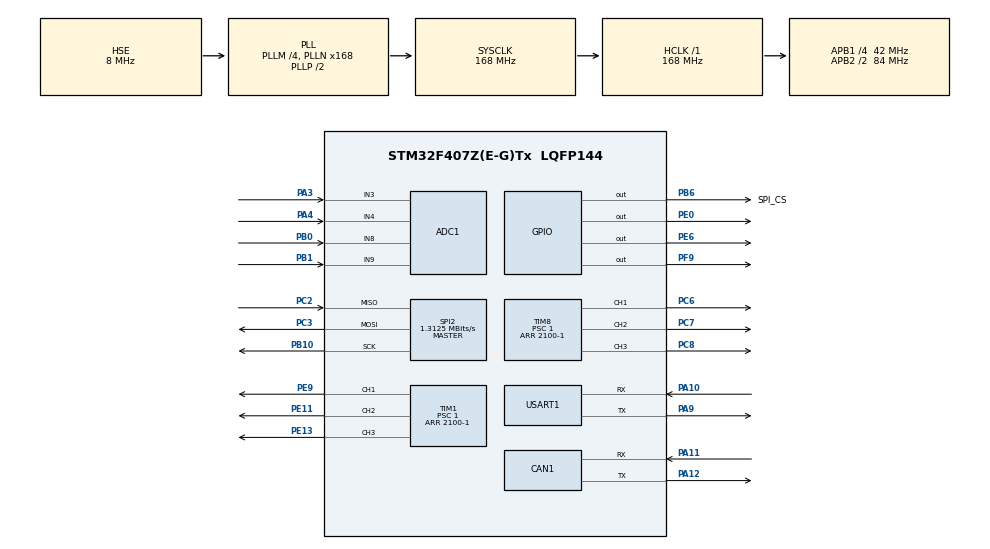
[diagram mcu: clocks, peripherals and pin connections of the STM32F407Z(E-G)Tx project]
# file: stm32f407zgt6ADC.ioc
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ADC1.Channel-0\#ChannelRegularConversion=ADC_CHANNEL_3
ADC1.Channel-1\#ChannelRegularConversion=ADC_CHANNEL_4
ADC1.Channel-2\#ChannelRegularConversion=ADC_CHANNEL_8
ADC1.Channel-3\#ChannelRegularConversion=ADC_CHANNEL_9
ADC1.ContinuousConvMode=ENABLE
ADC1.DMAContinuousRequests=ENABLE
ADC1.EOCSelection=ADC_EOC_SEQ_CONV
ADC1.NbrOfConversion=4
ADC1.NbrOfConversionFlag=1
ADC1.Rank-0\#ChannelRegularConversion=1
ADC1.Rank-1\#ChannelRegularConversion=2
ADC1.Rank-2\#ChannelRegularConversion=3
ADC1.Rank-3\#ChannelRegularConversion=4
ADC1.SamplingTime-0\#ChannelRegularConversion=ADC_SAMPLETIME_3CYCLES
ADC1.SamplingTime-1\#ChannelRegularConversion=ADC_SAMPLETIME_3CYCLES
ADC1.SamplingTime-2\#ChannelRegularConversion=ADC_SAMPLETIME_3CYCLES
ADC1.SamplingTime-3\#ChannelRegularConversion=ADC_SAMPLETIME_3CYCLES
ADC1.ScanConvMode=ENABLE
ADC1.master=1
CAN1.CalculateTimeQuantum=380.95238095238096
Dma.ADC1.0.Direction=DMA_PERIPH_TO_MEMORY
Dma.ADC1.0.FIFOMode=DMA_FIFOMODE_DISABLE
Dma.ADC1.0.Instance=DMA2_Stream0
Dma.ADC1.0.MemDataAlignment=DMA_MDATAALIGN_HALFWORD
Dma.ADC1.0.MemInc=DMA_MINC_ENABLE
Dma.ADC1.0.Mode=DMA_CIRCULAR
Dma.ADC1.0.PeriphDataAlignment=DMA_PDATAALIGN_HALFWORD
Dma.ADC1.0.PeriphInc=DMA_PINC_DISABLE
Dma.ADC1.0.Priority=DMA_PRIORITY_LOW
Dma.Request0=ADC1
Mcu.Family=STM32F4
Mcu.Name=STM32F407Z(E-G)Tx
Mcu.Package=LQFP144
NVIC.DMA2_Stream0_IRQn=true\:0\:0\:false\:false\:true\:false\:true\:true
NVIC.PriorityGroup=NVIC_PRIORITYGROUP_4
NVIC.USART1_IRQn=true\:0\:0\:false\:false\:true\:true\:true\:true
PA10.Mode=Asynchronous
PA10.Signal=USART1_RX
PA11.Mode=Master
PA11.Signal=CAN1_RX
PA12.Mode=Master
PA12.Signal=CAN1_TX
PA13.Mode=JTAG_5_pins
PA13.Signal=SYS_JTMS-SWDIO
PA14.Mode=JTAG_5_pins
PA14.Signal=SYS_JTCK-SWCLK
PA15.Mode=JTAG_5_pins
PA15.Signal=SYS_JTDI
PA3.Signal=ADCx_IN3
PA4.Signal=ADCx_IN4
PA9.Mode=Asynchronous
PA9.Signal=USART1_TX
PB0.Signal=ADCx_IN8
PB1.Signal=ADCx_IN9
PB10.Mode=Full_Duplex_Master
PB10.Signal=SPI2_SCK
PB3.Mode=JTAG_5_pins
PB3.Signal=SYS_JTDO-SWO
PB4.Mode=JTAG_5_pins
PB4.Signal=SYS_JTRST
PB6.GPIO_Label=SPI_CS
PB6.GPIO_PuPd=GPIO_PULLUP
PB6.GPIO_Speed=GPIO_SPEED_FREQ_HIGH
PB6.PinState=GPIO_PIN_SET
PB6.Signal=GPIO_Output
PC2.Mode=Full_Duplex_Master
PC2.Signal=SPI2_MISO
PC3.Mode=Full_Duplex_Master
PC3.Signal=SPI2_MOSI
PC6.GPIO_ModeDefaultPP=GPIO_MODE_AF_PP
PC6.GPIO_PuPd=GPIO_NOPULL
PC6.GPIO_Speed=GPIO_SPEED_FREQ_LOW
PC6.Signal=S_TIM8_CH1
PC7.GPIO_ModeDefaultPP=GPIO_MODE_AF_PP
PC7.GPIO_PuPd=GPIO_NOPULL
PC7.GPIO_Speed=GPIO_SPEED_FREQ_LOW
PC7.Signal=S_TIM8_CH2
PC8.GPIO_ModeDefaultPP=GPIO_MODE_AF_PP
PC8.GPIO_PuPd=GPIO_NOPULL
PC8.GPIO_Speed=GPIO_SPEED_FREQ_LOW
PC8.Signal=S_TIM8_CH3
PE0.Signal=GPIO_Output
PE11.Signal=S_TIM1_CH2
PE13.Signal=S_TIM1_CH3
PE6.Signal=GPIO_Output
PE9.Signal=S_TIM1_CH1
PF9.PinState=GPIO_PIN_SET
PF9.Signal=GPIO_Output
PH0-OSC_IN.Mode=HSE-External-Oscillator
PH0-OSC_IN.Signal=RCC_OSC_IN
PH1-OSC_OUT.Mode=HSE-External-Oscillator
PH1-OSC_OUT.Signal=RCC_OSC_OUT
ProjectManager.HeapSize=0x200
ProjectManager.StackSize=0x400
ProjectManager.TargetToolchain=MDK-ARM V5
RCC.48MHZClocksFreq_Value=84000000
RCC.AHBFreq_Value=168000000
RCC.APB1CLKDivider=RCC_HCLK_DIV4
RCC.APB1Freq_Value=42000000
RCC.APB1TimFreq_Value=84000000
RCC.APB2CLKDivider=RCC_HCLK_DIV2
RCC.APB2Freq_Value=84000000
RCC.APB2TimFreq_Value=168000000
RCC.CortexFreq_Value=168000000
RCC.HCLKFreq_Value=168000000
RCC.HSE_VALUE=8000000
RCC.HSI_VALUE=16000000
RCC.LSE_VALUE=32768
RCC.PLLM=4
RCC.PLLN=168
RCC.PLLSourceVirtual=RCC_PLLSOURCE_HSE
RCC.SYSCLKFreq_VALUE=168000000
RCC.SYSCLKSource=RCC_SYSCLKSOURCE_PLLCLK
RCC.VCOOutputFreq_Value=336000000
SH.ADCx_IN3.0=ADC1_IN3,IN3
SH.ADCx_IN4.0=ADC1_IN4,IN4
SH.ADCx_IN8.0=ADC1_IN8,IN8
SH.ADCx_IN9.0=ADC1_IN9,IN9
SH.S_TIM1_CH1.0=TIM1_CH1,PWM Generation1 CH1
SH.S_TIM1_CH2.0=TIM1_CH2,PWM Generation2 CH2
SH.S_TIM1_CH3.0=TIM1_CH3,PWM Generation3 CH3
SH.S_TIM8_CH1.0=TIM8_CH1,PWM Generation1 CH1
SH.S_TIM8_CH2.0=TIM8_CH2,PWM Generation2 CH2
SH.S_TIM8_CH3.0=TIM8_CH3,PWM Generation3 CH3
SPI2.BaudRatePrescaler=SPI_BAUDRATEPRESCALER_32
SPI2.CLKPhase=SPI_PHASE_2EDGE
SPI2.CalculateBaudRate=1.3125 MBits/s
SPI2.DataSize=SPI_DATASIZE_16BIT
SPI2.Direction=SPI_DIRECTION_2LINES
SPI2.Mode=SPI_MODE_MASTER
SPI2.VirtualType=VM_MASTER
TIM1.AutoReloadPreload=TIM_AUTORELOAD_PRELOAD_ENABLE
TIM1.AutomaticOutput=TIM_AUTOMATICOUTPUT_ENABLE
TIM1.Channel-PWM\ Generation1\ CH1=TIM_CHANNEL_1
TIM1.Channel-PWM\ Generation2\ CH2=TIM_CHANNEL_2
TIM1.Channel-PWM\ Generation3\ CH3=TIM_CHANNEL_3
TIM1.CounterMode=TIM_COUNTERMODE_CENTERALIGNED1
TIM1.OffStateIDLEMode=TIM_OSSI_ENABLE
TIM1.OffStateRunMode=TIM_OSSR_ENABLE
TIM1.Period=2100-1
TIM1.Prescaler=1
TIM1.TIM_MasterSlaveMode=TIM_MASTERSLAVEMODE_ENABLE
TIM2.Period=65536-1
TIM2.Prescaler=4-1
TIM3.Period=65536-1
TIM3.Prescaler=4000-1
TIM4.AutoReloadPreload=TIM_AUTORELOAD_PRELOAD_ENABLE
TIM4.CounterMode=TIM_COUNTERMODE_DOWN
TIM4.Period=65536-1
TIM4.Prescaler=84-1
TIM8.AutoReloadPreload=TIM_AUTORELOAD_PRELOAD_ENABLE
TIM8.AutomaticOutput=TIM_AUTOMATICOUTPUT_ENABLE
TIM8.Channel-PWM\ Generation1\ CH1=TIM_CHANNEL_1
TIM8.Channel-PWM\ Generation2\ CH2=TIM_CHANNEL_2
TIM8.Channel-PWM\ Generation3\ CH3=TIM_CHANNEL_3
TIM8.CounterMode=TIM_COUNTERMODE_CENTERALIGNED1
TIM8.OCPolarity_1=TIM_OCPOLARITY_HIGH
TIM8.OCPolarity_2=TIM_OCPOLARITY_HIGH
TIM8.OCPolarity_3=TIM_OCPOLARITY_HIGH
TIM8.OffStateIDLEMode=TIM_OSSI_ENABLE
TIM8.OffStateRunMode=TIM_OSSR_ENABLE
TIM8.Period=2100-1
TIM8.Prescaler=1
TIM8.TIM_MasterSlaveMode=TIM_MASTERSLAVEMODE_ENABLE
USART1.VirtualMode=VM_ASYNC
VP_TIM1_VS_ClockSourceINT.Mode=Internal
VP_TIM2_VS_ClockSourceINT.Mode=Internal
VP_TIM3_VS_ClockSourceINT.Mode=Internal
VP_TIM4_VS_ClockSourceINT.Mode=Internal
VP_TIM8_VS_ClockSourceINT.Mode=Internal
board=custom

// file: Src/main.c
/* USER CODE BEGIN Header */
/**
  ******************************************************************************
  * @file           : main.c
  * @brief          : Main program body
  ******************************************************************************
  * @attention
  *
  * <h2><center>&copy; Copyright (c) 2022 STMicroelectronics.
  * All rights reserved.</center></h2>
  *
  * This software component is licensed by ST under BSD 3-Clause license,
  * the "License"; You may not use this file except in compliance with the
  * License. You may obtain a copy of the License at:
  *                        opensource.org/licenses/BSD-3-Clause
  *
  ******************************************************************************
  */
/* USER CODE END Header */

#include "main.h"
#include "adc.h"
#include "can.h"
#include "dma.h"
#include "spi.h"
#include "tim.h"
#include "usart.h"
#include "gpio.h"

/* USER CODE BEGIN Includes */
#include "AS5047P.h"
/* USER CODE END Includes */

/* USER CODE BEGIN PTD */
extern int16_t adc_buff[ADC_NUM_MAX];    // ADC电压采集缓冲区
//extern int16_t adc_buff2[ADC_NUM_MAX];    // ADC电压采集缓冲区

//extern float adc_buff[ADC_NUM_MAX];    // ADC电压采集缓冲区
/* USER CODE END PTD */

/* USER CODE BEGIN PD */
extern float adc_u;
extern float adc_v;

extern float adc_u2;
extern float adc_v2;

uint16_t IU,IV;

//extern __IO uint16_t ChannelPulse;

float targetId;
float targetIq;
float velocity_target;	//待设定目标速度
float position_target;	//待设定目标位置

int  pole_pairs	= 14;//电机极对数
int  pole_pairs2 = 14;

long sensor_direction;
long sensor_direction2;

float voltage_power_supply;
float voltage_limit;

float voltage_sensor_align;
float voltage_sensor_align2;

float velocity_limit;
float current_limit;

uint32_t upposition;
uint32_t upvelocity;
uint32_t upcurrentq;
uint32_t upcurrentd;

float now_angle;
float now_velocity;
float now_position;

float now_angle2;
float now_velocity2;
float now_position2;

float Iq_target;

extern float a,b,c;
PhaseCurrent_s current_test;
PhaseCurrent_s current_test2;

float ctt,stt,d_t,q_t;
float i_alpha_t, i_beta_t;

extern float sensor_offset;
extern float Electrical_Angele_Sensor_Offset;

float firstAngle;
float SecondAngle;

float AS5600Angle1;
float AS5600Angle2;

float AS5047_PAngle;
//extern float AS4057_PAnglel;
uint32_t Raw_AS5047p;
float ZeroAngle;

//双电机互控
float abs_angle1;
float abs_angle2;

//模拟旋钮
float knob_angle;
float knob_velocity;
float knob_torque;
float now_Encoder;
float last_Encoder;
uint32_t knob_step;
uint32_t Planning_Number;
float Now_Planing_Number;
float shaftAngle_as5047p;
float getAngle5047p;
DQCurrent_s knob_current;

/* USER CODE END PD */

void SystemClock_Config(void);

int main(void)
{
  /* USER CODE BEGIN 1 */
//	voltage_limit = 6;          //V，最大值需小于 供电电压/sqrt(3) 12/1.732=6.9 24/sqrt(3)=13.8568
	voltage_limit = 13.86;          //V，最大值需小于 供电电压/sqrt(3) 12/1.732=6.9 24/sqrt(3)=13.8568
	voltage_power_supply = 24; 	//电源电压

	voltage_sensor_align = 3;   //V alignSensor() use it，大功率电机设置的值小一点比如0.5-1，小电机设置的大一点比如2-3
	voltage_sensor_align2 = 3;

	current_limit = 50; 				//电流限制，速度模式和位置模式起作用

	velocity_limit= 20;         	//位置模式速度限制

	velocity_target = 3;        //待设定目标速度 3 rad/s
	position_target = 4.5;				//待设定目标位置 3 rad

	Iq_target = 0;
	targetId = 0;
  /* USER CODE END 1 */

  /* MCU Configuration--------------------------------------------------------*/

  /* Reset of all peripherals, Initializes the Flash interface and the Systick. */
  HAL_Init();

  /* Configure the system clock */
  SystemClock_Config();

  /* Initialize all configured peripherals */
  MX_GPIO_Init();
  MX_DMA_Init();
  MX_ADC1_Init();
  MX_TIM8_Init();
  MX_TIM2_Init();
  MX_TIM3_Init();
  MX_TIM4_Init();
  MX_USART1_UART_Init();
  MX_TIM1_Init();
  MX_CAN1_Init();
  MX_SPI2_Init();
  /* USER CODE BEGIN 2 */
	//上位机初始化
//	protocol_init();

	__HAL_TIM_SetCounter(&htim4, 0);
  __HAL_TIM_ENABLE(&htim4);

	IIC_Init();
	IIC2_Init();

	HAL_ADC_Start(&hadc1);
	HAL_ADC_Start_DMA(&hadc1,(uint32_t*)&adc_buff,ADC_NUM_MAX);//ADC采样点数

	LPF_init();
	LPF_init2();

	PID_init();
	PID_init2();

	InlineCurrentSense(0.01,50);    //SimpleMotor//采样电阻阻值，运放倍数
	InlineCurrentSense2(0.01,50);

		//AS5047P初始化
#if 1
		HAL_Delay(100);
		AS5047_Init();
		HAL_Delay(100);
		ZeroAngle = AS5047_Get_ZeroPosition() * 360.0 / 0x3FFF;
#endif

	Motor_init();
	my_delay_ms(10);
	Motor_initFOC(0,UNKNOWN);
	my_delay_ms(500);
	Current_calibrateOffsets();//电流偏置测量(空载情况下的电流)

	Motor_init2();
	my_delay_ms(10);
	Motor_initFOC2(0,UNKNOWN);
	my_delay_ms(500);
	Current_calibrateOffsets2();//电流偏置测量(空载情况下的电流)

//	my_delay_ms(10);
	/*****************************************************************/
	//Uq90度
//	//setPhaseVoltage(voltage_sensor_align, 0, _3PI_2);
//
//	setPhaseVoltage(voltage_sensor_align, 0, _PI_2);
//
//	firstAngle = shaftAngle();//理论上应该是90度
//
////	setPhaseVoltage(0, voltage_sensor_align, 0);
////	my_delay_ms(500);
//	sensor_offset = shaftAngle();// shaft angle
//	sensor_offset = sensor_offset - _PI_2/7;

	/*****************************************************************/

//	setPhaseVoltage(0, 0, 0);
#if 0
	CALIBRATION_start();

	CALIBRATION_loop();
	my_delay_ms(1000);
#endif

//上位机启动
#if 0
	set_computer_value(SEND_STOP_CMD, CURVES_CH1, NULL, 0);                // 同步上位机的启动按钮状态
	set_computer_value(SEND_STOP_CMD, CURVES_CH2, NULL, 0);                // 同步上位机的启动按钮状态
	set_computer_value(SEND_STOP_CMD, CURVES_CH3, NULL, 0);                // 同步上位机的启动按钮状态
	set_computer_value(SEND_STOP_CMD, CURVES_CH4, NULL, 0);                // 同步上位机的启动按钮状态

//	set_computer_value(SEND_TARGET_CMD, CURVES_CH1, &upcurrentq, 1);     // 给通道 3发送目标值
//	set_computer_value(SEND_TARGET_CMD, CURVES_CH2, &upcurrentd, 1);     // 给通道 3发送目标值
//	set_computer_value(SEND_TARGET_CMD, CURVES_CH3, &velocity_target, 1);     // 给通道 3发送目标值
//	set_computer_value(SEND_TARGET_CMD, CURVES_CH4, &position_target, 1);     // 给通道 3发送目标值

	set_computer_value(SEND_START_CMD, CURVES_CH1, NULL, 0);               // 同步上位机的启动按钮状态
	set_computer_value(SEND_START_CMD, CURVES_CH2, NULL, 0);               // 同步上位机的启动按钮状态
	set_computer_value(SEND_START_CMD, CURVES_CH3, NULL, 0);               // 同步上位机的启动按钮状态
	set_computer_value(SEND_START_CMD, CURVES_CH4, NULL, 0);               // 同步上位机的启动按钮状态
#endif
//	setPhaseVoltage(voltage_sensor_align,0,_PI_2);

//	setPhaseVoltage(0,voltage_sensor_align,0);

  /* USER CODE END 2 */

  /* Infinite loop */
  /* USER CODE BEGIN WHILE */

  while (1)
  {

		#if 0
			receiving_process();
		#endif

		#if 0
		//AS5600编码器测试
			abs_angle1 = ABS_Angle();
			abs_angle2 = ABS_Angle2();
			AS5600Angle1 = AS5600_ReadRawAngle()/(float)4096*(float)360;
			AS5600Angle2 = AS5600_ReadRawAngle2()/(float)4096*(float)360;
			shaft_angle = shaftAngle();// shaft angle
			electrical_angle = electricalAngle();// electrical angle - need shaftAngle to be called first
			shaft_angle2 = shaftAngle2();
			electrical_angle2 = electricalAngle2();
	//		printf("%f\r\n",AS5600_ReadRawAngle()/4096*360);
		#endif

		#if 0
//		shaft_angle = shaftAngle();// shaft angle

		electrical_angle = electricalAngle();// electrical angle - need shaftAngle to be called first
		shaft_angle = shaftAngle();// shaft angle
		now_velocity = getVelocity();
		#endif
//		printf("%f\r\n",PIDoperator(&PID_velocity,(10 - 5)));

		//电机1校准
		#if 0
		//Ud基准
		setPhaseVoltage(0,voltage_sensor_align,(_2PI * 1.f/ 12.0f));

		current_test = getPhaseCurrents();

		shaft_angle = shaftAngle();// shaft angle
		electrical_angle = electricalAngle();// electrical angle - need shaftAngle to be called first

//		i_alpha_t = current_test.a;
//		i_beta_t = _1_SQRT3 * current_test.a + _2_SQRT3 * current_test.b;//a + b + c = 0
//
//		ctt = arm_cos_f32(electrical_angle);
//		stt = arm_sin_f32(electrical_angle);
//
//		//simplefoc的park变换
//		d_t = i_alpha_t * ctt + i_beta_t * stt;
//		q_t = i_beta_t * ctt - i_alpha_t * stt;

		#endif

		//电机2校准
		#if 0
		//电机2 Ud基准
		setPhaseVoltage2(0,voltage_sensor_align2,(_2PI * 1.f/ 12.0f));

		current_test2 = getPhaseCurrents2();

		shaft_angle2 = shaftAngle2();// shaft angle
		electrical_angle2 = electricalAngle2();// electrical angle - need shaftAngle to be called first

//		i_alpha_t = current_test2.a;
//		i_beta_t = _1_SQRT3 * current_test2.a + _2_SQRT3 * current_test2.b;//a + b + c = 0
//
//		ctt = arm_cos_f32(electrical_angle2);
//		stt = arm_sin_f32(electrical_angle2);
//
//		//simplefoc的park变换
//		d_t = i_alpha_t * ctt + i_beta_t * stt;
//		q_t = i_beta_t * ctt - i_alpha_t * stt;

		#endif
//		printf( "angle : %.04f\r\n", ReadAngle() );

//		HAL_Delay(1000);

		//电机1对相
		#if 0
//		//a
//		__HAL_TIM_SetCompare(&htim8,TIM_CHANNEL_1,0.1*(2100-1));
//		__HAL_TIM_SetCompare(&htim8,TIM_CHANNEL_2,0);
//		__HAL_TIM_SetCompare(&htim8,TIM_CHANNEL_3,0);
		//b
//		__HAL_TIM_SetCompare(&htim8,TIM_CHANNEL_1,0);
//		__HAL_TIM_SetCompare(&htim8,TIM_CHANNEL_2,0.1*(2100-1));
//		__HAL_TIM_SetCompare(&htim8,TIM_CHANNEL_3,0);
		//c
		__HAL_TIM_SetCompare(&htim8,TIM_CHANNEL_1,0);
		__HAL_TIM_SetCompare(&htim8,TIM_CHANNEL_2,0);
		__HAL_TIM_SetCompare(&htim8,TIM_CHANNEL_3,0.1*(2100-1));

		current_test = getPhaseCurrents();
		#endif

		//电机2对相
		#if 0
		//a
//		__HAL_TIM_SetCompare(&htim1,TIM_CHANNEL_1,0.1*(2100-1));
//		__HAL_TIM_SetCompare(&htim1,TIM_CHANNEL_2,0);
//		__HAL_TIM_SetCompare(&htim1,TIM_CHANNEL_3,0);
		//b
		__HAL_TIM_SetCompare(&htim1,TIM_CHANNEL_1,0);
		__HAL_TIM_SetCompare(&htim1,TIM_CHANNEL_2,0.1*(2100-1));
		__HAL_TIM_SetCompare(&htim1,TIM_CHANNEL_3,0);
		//c
//		__HAL_TIM_SetCompare(&htim1,TIM_CHANNEL_1,0);
//		__HAL_TIM_SetCompare(&htim1,TIM_CHANNEL_2,0);
//		__HAL_TIM_SetCompare(&htim1,TIM_CHANNEL_3,0.1*ChannelPulse);

		current_test = getPhaseCurrents2();

		#endif
//		setPhaseVoltage(0, 1, _2PI * 1.0f/ 12.0f);
//		setPhaseVoltage(0, 1, _2PI * 3.0f/ 12.0f);
//		setPhaseVoltage(0, 1, _2PI * 5.0f/ 12.0f);
//		setPhaseVoltage(0, 1, _2PI * 7.0f/ 12.0f);
//		setPhaseVoltage(0, 1, _2PI * 9.0f/ 12.0f);
//		setPhaseVoltage(0, 1, _2PI * 11.0f/ 12.0f);

//		shaft_angle = shaftAngle();// shaft angle
//		electrical_angle = electricalAngle();// electrical angle - need shaftAngle to be called first
//		current = getFOCCurrents(electrical_angle);

//		move(Iq_target);
//Id
#if 0
		shaft_angle = shaftAngle();// shaft angle
		electrical_angle = electricalAngle();// electrical angle - need shaftAngle to be called first

		// read dq currents
		current = getFOCCurrents(electrical_angle);
		// filter values
//		current.q = LPFoperator(&LPF_current_q,current.q);
		current.d = LPFoperator(&LPF_current_d,current.d);

		voltage.d = PIDoperator(&PID_current_d, (targetId - current.d));
		setPhaseVoltage(0, voltage.d, electrical_angle);
#endif

//Iq
#if 0
//		shaft_angle = shaftAngle();// shaft angle
		electrical_angle = electricalAngle();// electrical angle - need shaftAngle to be called first

		// read dq currents
		current = getFOCCurrents(electrical_angle);
		// filter values
		current.q = LPFoperator(&LPF_current_q,current.q);
//		current.d = LPFoperator(&LPF_current_d,current.d);

//		voltage.d = PIDoperator(&PID_current_d, (targetId - current.d));
		voltage.q = PIDoperator(&PID_current_q, (targetIq - current.q));
		setPhaseVoltage(voltage.q , 0, electrical_angle);
#endif
//clark park 变换验证

#if 0
//	DQCurrent_s getFOCCurrents(float angle_el);

	float angle_t = _PI/6;
	float ctt,stt,d_t,q_t;
	float i_alpha_t, i_beta_t;
	float Ia_t = 0.5;
	float	Ib_t = -0.3;

	i_alpha_t = Ia_t;
	i_beta_t = _1_SQRT3 * Ia_t + _2_SQRT3 * Ib_t;//a + b + c = 0

	ctt = arm_cos_f32(angle_t);
	stt = arm_sin_f32(angle_t);

	//simplefoc的park变换
	d_t = i_alpha_t * ctt + i_beta_t * stt;
	q_t = i_beta_t * ctt - i_alpha_t * stt;

	printf("d_t:%f\r\n",d_t);
	printf("q_t:%f\r\n",q_t);
#endif

//电流模式
#if 0
		move(0);
		loopFOCtest();
		now_velocity = shaftVelocity();//测速
		now_position = getAngle();
#endif
//速度模式
#if 0
//	//AS5600
//		now_velocity = move_velocity(velocity_target);
//		loopFOCtest();
	//AS5047P
		now_velocity = move_velocity(velocity_target);
	//AS5047P测速
//	shaft_velocity = shaftVelocity_AS5047P();
	//AS5047P测角度
//	shaftAngle_as5047p = shaftAngle_AS5047P();// shaft angle
//	getAngle5047p = getAngle_as5047p();
//	knob_angle = ((float)(ReadRegister(0xFFFF)&0x3fff)*360)/16384;
		Knob_loop();
//向上位机打印数据
//		upposition = getAngle();

//		upvelocity = now_velocity * 1000;
//		upcurrentq = current.q * 1000 + 1000;//扩大1000，偏置1000
//		upcurrentd = current.d * 1000 + 1000;//扩大1000,偏置1000

//		set_computer_value(SEND_FACT_CMD, CURVES_CH1, &upcurrentq, 1);     // 给通道1发Iq
//		set_computer_value(SEND_FACT_CMD, CURVES_CH2, &upcurrentd, 1);     // 给通道2发Id
//		set_computer_value(SEND_FACT_CMD, CURVES_CH3, &upvelocity, 1);     // 给通道3发送速度值
////		set_computer_value(SEND_FACT_CMD, CURVES_CH4, &upposition, 1);     // 给通道4发送位置值
#endif
//M2速度模式
#if 0
		now_velocity2 = move_velocity2(velocity_target);
		loopFOCtest_second();
#endif

//双电机速度模式
#if 0
		now_velocity = move_velocity(velocity_target);
		loopFOCtest();

		now_velocity2 = move_velocity2(velocity_target);
		loopFOCtest_second();
#endif

//位置环模式
#if 1
	//AS5600
//		now_position = move_position(position_target);
//		loopFOCtest();//电流环PID
	//AS5047P
		now_position = move_position(position_target);
		Knob_loop();

//		loopFOCtest();//电流环PID

//		now_velocity = shaftVelocity();

//		upvelocity = now_velocity * 1000;//扩大1000
//		upcurrentq = current.q * 1000 + 1000;//扩大1000，偏置1000
//		upcurrentd = current.d * 1000 + 1000;//扩大1000,偏置1000
#endif

//		now_velocity= move_velocity(velocity_target);
//		loopFOCtest();

//	float A,B;
//	float d =_2PI/2048;

//双电机力矩互控
#if 0
//		move(0);
//		move2(0);
//		shaft_angle = shaftAngle();// shaft angle
//		shaft_angle2 = shaftAngle2();// shaft angle

//		abs_angle1 = ABS_Angle();
//		abs_angle2 = ABS_Angle2();

		move_torque2();
		move_torque1();

		loopFOCtest_second();
		loopFOCtest();

//		test();

//		if((adc_u>0.5)&&(adc_v>0.5)&&(adc_u2>0.5)&&(adc_v2>0.5)){
//			HAL_GPIO_WritePin(GPIOF,GPIO_PIN_9,GPIO_PIN_RESET);
//		}else{
//			HAL_GPIO_WritePin(GPIOF,GPIO_PIN_9,GPIO_PIN_SET);
//		}

//	shaft_angle2 = shaftAngle2();// shaft angle
//	electrical_angle2 = electricalAngle2();// electrical angle - need shaftAngle to be called first

//	// read dq currents
//	current2 = getFOCCurrents2(electrical_angle2);

////
//	voltage2.q = PIDoperator(&PID_current_q2,(current_sp - current2.q));
//	voltage2.d = PIDoperator(&PID_current_d2, (targetId - current2.d));

//
//	// set the phase voltage - FOC heart function :)
//  setPhaseVoltage2(voltage2.q, voltage2.d, electrical_angle2);

//		getPhaseCurrents();
//		getPhaseCurrents2();

//		current_test = getPhaseCurrents();
//		current_test2 = getPhaseCurrents2();

//		now_velocity = shaftVelocity();//测速
//		now_position = getAngle();

//		now_velocity2 = shaftVelocity2();//测速
//		now_position2 = getAngle2();
#endif

	//电机旋钮功能
	/*
		1.弹性回正(位置模式)
			电机以一个固定码值为中心，偏离中心码值会产生回复力
			使电机能回复到中心码值位置

		2.分段旋钮
			将电机旋转的一周切分成n个点位，在点位上电机不产生主动回复力，
			偏离点位，电机会受到回复力，偏离点位越远，受到的回复力越大

		3.阻尼回正
		4.阻尼旋钮
		5.失重转动

		6.左右限位
			电机在一定的位置内能自由转动，超出位置限制会产生回复力

	*/

	//2.分段旋钮
	 //多段旋钮
  /*
    四段式旋钮
    切分点0,90,180,270
    二次分段: 1）0-45,45-90
            2）90-135,135-180
            3）180-225,225-270
            4）270-315,315-360（0）
  */
	//测试AS5047p编码器
	#if 0
	shaftAngle_as5047p = shaftAngle_AS5047P();// shaft angle
	getAngle5047p = getAngle_as5047p();
	knob_angle = ((float)(ReadRegister(0xFFFF)&0x3fff)*360)/16384;
	#endif
	#if 0
	//knob_angle = (float)AS5600_ReadRawAngle()/4096*360.0;//AS5600
	//AS5047P
	knob_angle = ((float)(ReadRegister(0xFFFF)&0x3fff)*360)/16384;
  knob_step = (uint32_t)knob_angle/45 + 1;
  switch(knob_step){
    case 1://0-45
      if((knob_angle > 0.1)&&(knob_angle < 44.9))
        knob_torque = 0.2;//往大走
          break;
    case 2://45-90
      if((knob_angle > 45.1)&&(knob_angle < 89.9))
        knob_torque = -0.2;//往小走
      else
        knob_torque = 0;
          break;
    case 3://90-135
      if((knob_angle > 90.1)&&(knob_angle < 134.9))
        knob_torque = 0.2;//往大走
      else
        knob_torque = 0;
          break;
    case 4://135-180
      if((knob_angle > 135.1)&&(knob_angle < 179.9))
        knob_torque = -0.2;//往小走
      else
        knob_torque = 0;
          break;
    case 5://180-225
      if((knob_angle > 180.1)&&(knob_angle < 224.9))
        knob_torque = 0.2;//往大走
      else
        knob_torque = 0;
          break;
    case 6://225-270
      if((knob_angle > 225.1)&&(knob_angle < 269.9))
        knob_torque = -0.2;//往小走
      else
        knob_torque = 0;
          break;
    case 7://270-315
      if((knob_angle > 270.1)&&(knob_angle < 314.9))
        knob_torque = 0.2;//往大走
      else
        knob_torque = 0;
          break;
    case 8://315-360（0）
      if((knob_angle > 315.1)&&(knob_angle < 359.9))
        knob_torque = -0.2;//往小走
      else
        knob_torque = 0;
          break;
    default:
        knob_torque = 0;
          break;
   }
	move(knob_torque);
	//AS5600
	//loopFOCtest();

	 //AS5047P
	Knob_loop();
	#endif

//	#if 0
//		knob_angle = (float)AS5600_ReadRawAngle()/4096*360.0;
//		Multistage_knob_move(knob_angle);
//		loopFOCtest();
//	#endif

	//3.阻尼旋钮

	//5.失重转动
	#if 0
//		now_Encoder = shaftAngle();//AS5600
		now_Encoder = shaftAngle_AS5047P();
		knob_torque = -0.01 * (now_Encoder - last_Encoder);
//		if(knob_torque > 0.5)
//			knob_torque = 0.5;
//		else if(knob_torque < -0.5){
//			knob_torque = -0.5;
//		}
		move(knob_torque);
//		loopFOCtest();
		Knob_loop();
		my_delay_ms(10);
		last_Encoder = now_Encoder;
	#endif
	//6.左右限位，力矩模式，超出边界受到反向力矩
	#if 0
//		knob_angle = (float)AS5600_ReadRawAngle()/4096*360.0;
    knob_angle = ((float)(ReadRegister(0xFFFF)&0x3fff)*360)/16384;
		//180度自由旋转范围，超出范围受到反向的力矩
    if((knob_angle > 0)&&(knob_angle < 180)){
      knob_torque = 0;
    }else if((knob_angle >= 180)&&(knob_angle < 270)){
      knob_torque = 0.2;//顺时针，往小走
    }else{//angle0>=270 angle0<=360
      knob_torque = -0.2;//逆时针，往大走
    }
		move(knob_torque);
		Knob_loop();
//		loopFOCtest();
	#endif

	//6.左右限位，力矩模式，
	//设计超过边界缓慢递减的Iq,目前尚存在bug
	#if 0

//		move(0.01);
//		loopFOCtest();
//		knob_angle = (float)AS5600_ReadRawAngle()/4096*360.0;
		knob_angle = (float)AS5600_ReadRawAngle()/4096*360.0;
		knob_current = getFOCCurrents(electricalAngle());
		knob_torque = knob_current.q;
		if((knob_angle > 0.0)&&(knob_angle < 180.0)){//正常位置
			if(knob_torque > 0.005){
				Planning_Number = (uint32_t)fabs(knob_angle)/0.002;
				while((Planning_Number == 0)&&(knob_torque <= 0.002)){
						Planning_Number--;
						knob_torque = Planning_Number * 0.002;
						knob_current = getFOCCurrents(electricalAngle());
						knob_torque = knob_current.q;
					}
			}else if(knob_torque < -0.005){
					Planning_Number = (uint32_t)fabs(knob_angle)/0.002;
				while((Planning_Number == 0)&&(knob_torque <= 0.002)){
					Planning_Number--;
					knob_torque = Planning_Number * -0.002;
					knob_current = getFOCCurrents(electricalAngle());
					knob_torque = knob_current.q;
				}
			}else{
					knob_torque = 0;
			}
//			move(knob_torque);
//			loopFOCtest();
		}else if((knob_angle >= 180.0)&&(knob_angle < 270.0)){//180
				knob_torque = -0.008;
//			move_position(180.0);//位置模式
//			current_sp = (float)-0.2*(knob_angle-180)/90.0;
//			move(-0.01);
//			loopFOCtest();
		}else{
				knob_torque = 0.008;
//			move(0.01);
//			move_position(0.0);//位置模式
//			loopFOCtest();
		}

		move(knob_torque);
		loopFOCtest();
	#endif

	#if 0
	//马鞍波测试
		for(uint32_t i = 0; i<5000;i++){
			shaft_angle = shaftAngle();// shaft angle
			electrical_angle = electricalAngle();// electrical angle - need shaftAngle to be called first
			setPhaseVoltage(3*arm_sin_f32(((float)i/5000.0f) * _2PI),3*arm_cos_f32(((float)i/5000.0f) * _2PI),electrical_angle);
	//		my_delay_ms(10);
			set_computer_value(SEND_FACT_CMD, CURVES_CH1, &a, 1);
			set_computer_value(SEND_FACT_CMD, CURVES_CH2, &b, 1);
			set_computer_value(SEND_FACT_CMD, CURVES_CH3, &c, 1);
		}
	#endif

	//发送通道值
	#if 0
			upposition = now_position * 1000;//扩大1000
			upvelocity = now_velocity * 1000;//扩大1000
			upcurrentq = current.q * 1000 + 1000;//扩大1000，偏置1000
			upcurrentd = current.d * 1000 + 1000;//扩大1000,偏置1000
			set_computer_value(SEND_FACT_CMD, CURVES_CH1, &upcurrentq, 1);     // 给通道1发Iq
			set_computer_value(SEND_FACT_CMD, CURVES_CH2, &upcurrentd, 1);     // 给通道2发Id
			set_computer_value(SEND_FACT_CMD, CURVES_CH3, &upvelocity, 1);     // 给通道3发送速度值
			set_computer_value(SEND_FACT_CMD, CURVES_CH4, &upposition, 1);     // 给通道4发送位置值
	#endif
    /* USER CODE END WHILE */

    /* USER CODE BEGIN 3 */

		//AS5047P
		#if 0
		AS5047_PAngle = ((float)(ReadRegister(0xFFFF)&0x3fff)*360)/16384;
//		printf("%f\r\n",AS5047_PAngle);
		my_delay_ms(20);
		#endif

  }
  /* USER CODE END 3 */
}

void SystemClock_Config(void)
{
  RCC_OscInitTypeDef RCC_OscInitStruct = {0};
  RCC_ClkInitTypeDef RCC_ClkInitStruct = {0};

  /** Configure the main internal regulator output voltage
  */
  __HAL_RCC_PWR_CLK_ENABLE();
  __HAL_PWR_VOLTAGESCALING_CONFIG(PWR_REGULATOR_VOLTAGE_SCALE1);
  /** Initializes the CPU, AHB and APB busses clocks
  */
  RCC_OscInitStruct.OscillatorType = RCC_OSCILLATORTYPE_HSE;
  RCC_OscInitStruct.HSEState = RCC_HSE_ON;
  RCC_OscInitStruct.PLL.PLLState = RCC_PLL_ON;
  RCC_OscInitStruct.PLL.PLLSource = RCC_PLLSOURCE_HSE;
  RCC_OscInitStruct.PLL.PLLM = 4;
  RCC_OscInitStruct.PLL.PLLN = 168;
  RCC_OscInitStruct.PLL.PLLP = RCC_PLLP_DIV2;
  RCC_OscInitStruct.PLL.PLLQ = 4;
  if (HAL_RCC_OscConfig(&RCC_OscInitStruct) != HAL_OK)
  {
    Error_Handler();
  }
  /** Initializes the CPU, AHB and APB busses clocks
  */
  RCC_ClkInitStruct.ClockType = RCC_CLOCKTYPE_HCLK|RCC_CLOCKTYPE_SYSCLK
                              |RCC_CLOCKTYPE_PCLK1|RCC_CLOCKTYPE_PCLK2;
  RCC_ClkInitStruct.SYSCLKSource = RCC_SYSCLKSOURCE_PLLCLK;
  RCC_ClkInitStruct.AHBCLKDivider = RCC_SYSCLK_DIV1;
  RCC_ClkInitStruct.APB1CLKDivider = RCC_HCLK_DIV4;
  RCC_ClkInitStruct.APB2CLKDivider = RCC_HCLK_DIV2;

  if (HAL_RCC_ClockConfig(&RCC_ClkInitStruct, FLASH_LATENCY_5) != HAL_OK)
  {
    Error_Handler();
  }
}

void Error_Handler(void)
{
}

/************************ (C) COPYRIGHT STMicroelectronics *****END OF FILE****/
